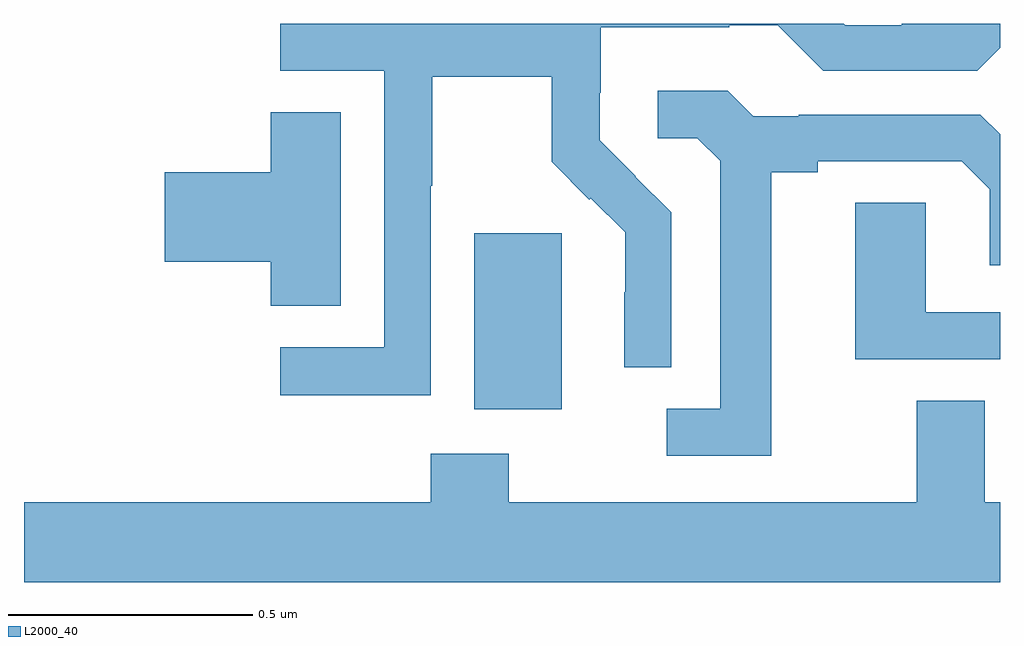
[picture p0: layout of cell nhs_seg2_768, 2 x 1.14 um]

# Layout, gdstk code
import gdstk
lib = gdstk.Library(unit=1e-6, precision=1e-09)
def R(c, l, rs):  # rectangles x0, y0, x1, y1
    for r in rs: c.add(gdstk.rectangle(r[:2], r[2:], *l))
def P(c, l, *ps):  # polygons
    for p in ps: c.add(gdstk.Polygon(p, *l))
L2000_40 = (2000, 40)

nhs_seg2_768 = lib.new_cell('nhs_seg2_768')
R(nhs_seg2_768, L2000_40, [(120.923,628.01,121.102,628.371)])
P(nhs_seg2_768, L2000_40, [(120.834,628.468),(120.837,628.468),(120.837,628.692),(121.081,628.692),(121.081,628.517),(121.158,628.44),(121.161,628.443),(121.232,628.373),(121.232,628.25),(121.23,628.25),(121.23,628.096),(121.326,628.096),(121.326,628.414),(121.253,628.487),(121.254,628.488),(121.18,628.562),(121.18,628.659),(121.182,628.659),(121.182,628.793),(121.445,628.793),(121.445,628.797),(121.545,628.797),(121.638,628.704),(121.953,628.704),(122,628.751),(122,628.8),(121.799,628.8),(121.799,628.797),(121.683,628.797),(121.68,628.8),(120.525,628.8),(120.525,628.704),(120.738,628.704),(120.738,628.137),(120.525,628.137),(120.525,628.039),(120.834,628.039)],
  [(121.531,628.496),(121.627,628.496),(121.627,628.518),(121.922,628.518),(121.979,628.461),(121.979,628.305),(122,628.305),(122,628.574),(121.96,628.614),(121.588,628.614),(121.588,628.611),(121.494,628.611),(121.442,628.663),(121.299,628.663),(121.299,628.566),(121.38,628.566),(121.427,628.519),(121.427,628.011),(121.317,628.011),(121.317,627.915),(121.531,627.915)],
  [(120.649,628.619),(120.506,628.619),(120.506,628.496),(120.288,628.496),(120.288,628.313),(120.506,628.313),(120.506,628.222),(120.649,628.222)],
  [(122,628.209),(121.848,628.209),(121.848,628.433),(121.703,628.433),(121.703,628.113),(122,628.113)],
  [(122,627.82),(121.969,627.82),(121.969,628.028),(121.829,628.028),(121.829,627.82),(120.993,627.82),(120.993,627.919),(120.833,627.919),(120.833,627.82),(120,627.82),(120,627.656),(122,627.656)])

lib.write_gds('nhs_seg2_768.gds')
